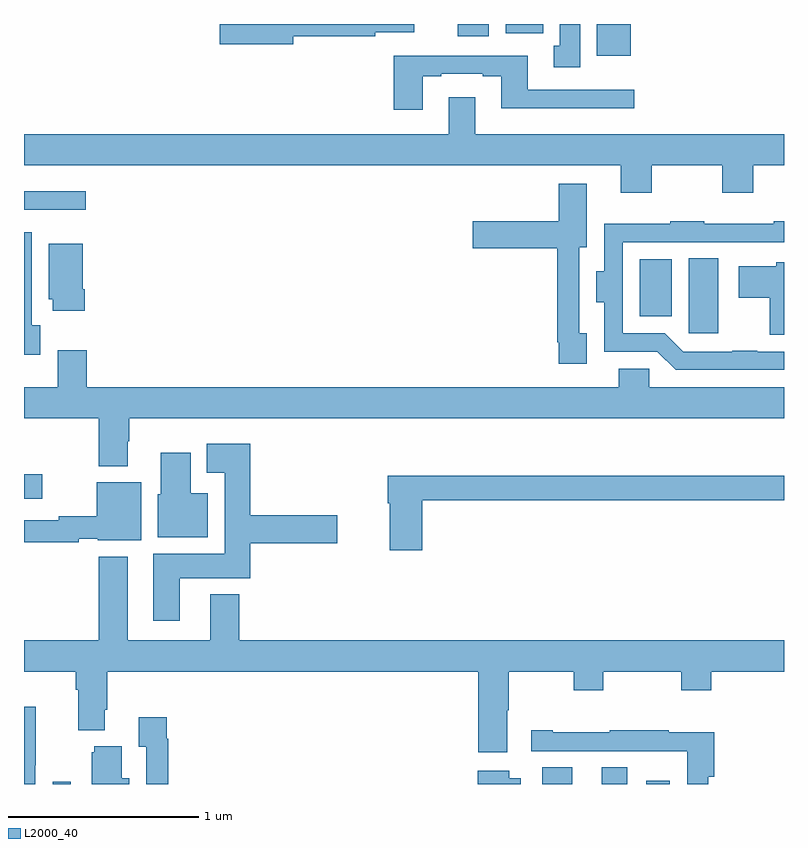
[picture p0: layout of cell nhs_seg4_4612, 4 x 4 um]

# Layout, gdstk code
import gdstk
lib = gdstk.Library(unit=1e-6, precision=1e-09)
def R(c, l, rs):  # rectangles x0, y0, x1, y1
    for r in rs: c.add(gdstk.rectangle(r[:2], r[2:], *l))
def P(c, l, *ps):  # polygons
    for p in ps: c.add(gdstk.Polygon(p, *l))
L2000_40 = (2000, 40)

nhs_seg4_4612 = lib.new_cell('nhs_seg4_4612')
R(nhs_seg4_4612, L2000_40, [(359.151,790.9,359.247,790.912), (361.727,790.9,361.885,790.988), (362.042,790.9,362.176,790.988), (362.276,790.9,362.398,790.918), (359,792.401,359.095,792.531), (362.498,793.272,362.653,793.667), (362.24,793.361,362.41,793.663), (359,793.923,359.326,794.02), (362.015,794.732,362.194,794.9), (361.283,794.835,361.447,794.9), (361.535,794.852,361.732,794.9)])
P(nhs_seg4_4612, L2000_40, [(360.418,794.836),(360.848,794.836),(360.848,794.856),(361.054,794.856),(361.054,794.9),(360.03,794.9),(360.03,794.794),(360.418,794.794)],
  [(361.927,794.9),(361.82,794.9),(361.82,794.786),(361.787,794.786),(361.787,794.673),(361.927,794.673)],
  [(361.099,794.625),(361.195,794.625),(361.195,794.637),(361.415,794.637),(361.415,794.625),(361.511,794.625),(361.511,794.456),(362.212,794.456),(362.212,794.553),(361.651,794.553),(361.651,794.733),(360.947,794.733),(360.947,794.448),(361.099,794.448)],
  [(362.305,794.156),(362.675,794.156),(362.675,794.013),(362.839,794.013),(362.839,794.156),(363,794.156),(363,794.32),(361.375,794.32),(361.375,794.515),(361.235,794.515),(361.235,794.32),(359,794.32),(359,794.156),(362.141,794.156),(362.141,794.013),(362.305,794.013)],
  [(361.963,793.273),(361.923,793.273),(361.923,793.724),(361.963,793.724),(361.963,794.059),(361.814,794.059),(361.814,793.863),(361.362,793.863),(361.362,793.721),(361.807,793.721),(361.807,793.225),(361.815,793.225),(361.815,793.113),(361.963,793.113)],
  [(363,793.176),(362.858,793.176),(362.858,793.181),(362.728,793.181),(362.728,793.176),(362.469,793.176),(362.373,793.272),(362.151,793.272),(362.151,793.752),(363,793.752),(363,793.861),(362.945,793.861),(362.945,793.849),(362.579,793.849),(362.579,793.861),(362.401,793.861),(362.401,793.849),(362.055,793.849),(362.055,793.6),(362.012,793.6),(362.012,793.436),(362.054,793.436),(362.054,793.176),(362.334,793.176),(362.43,793.08),(363,793.08)],
  [(359.086,793.314),(359.041,793.314),(359.041,793.804),(359,793.804),(359,793.16),(359.086,793.16)],
  [(359.321,793.504),(359.308,793.504),(359.308,793.744),(359.129,793.744),(359.129,793.452),(359.15,793.452),(359.15,793.392),(359.321,793.392)],
  [(363,793.645),(362.958,793.645),(362.958,793.624),(362.763,793.624),(362.763,793.46),(362.924,793.46),(362.924,793.265),(363,793.265)],
  [(359.177,793.183),(359.177,792.988),(359,792.988),(359,792.824),(359.393,792.824),(359.393,792.572),(359.545,792.572),(359.545,792.704),(359.553,792.704),(359.553,792.824),(363,792.824),(363,792.988),(362.292,792.988),(362.292,793.086),(362.129,793.086),(362.129,792.988),(359.33,792.988),(359.33,793.183)],
  [(359.821,791.984),(360.191,791.984),(360.191,792.167),(360.649,792.167),(360.649,792.314),(360.191,792.314),(360.191,792.691),(359.963,792.691),(359.963,792.539),(360.056,792.539),(360.056,792.112),(359.681,792.112),(359.681,791.76),(359.821,791.76)],
  [(359.968,792.43),(359.878,792.43),(359.878,792.643),(359.72,792.643),(359.72,792.426),(359.705,792.426),(359.705,792.2),(359.968,792.2)],
  [(361.097,792.394),(363,792.394),(363,792.523),(360.914,792.523),(360.914,792.377),(360.926,792.377),(360.926,792.129),(361.097,792.129)],
  [(359.288,792.192),(359.388,792.192),(359.388,792.182),(359.617,792.182),(359.617,792.487),(359.384,792.487),(359.384,792.308),(359.182,792.308),(359.182,792.288),(359,792.288),(359,792.172),(359.288,792.172)],
  [(361.543,791.288),(361.551,791.288),(361.551,791.492),(361.894,791.492),(361.894,791.393),(362.049,791.393),(362.049,791.492),(362.458,791.492),(362.458,791.393),(362.618,791.393),(362.618,791.492),(363,791.492),(363,791.656),(360.134,791.656),(360.134,791.899),(359.981,791.899),(359.981,791.656),(359.545,791.656),(359.545,792.097),(359.393,792.097),(359.393,791.656),(359,791.656),(359,791.492),(359.273,791.492),(359.273,791.396),(359.285,791.396),(359.285,791.183),(359.425,791.183),(359.425,791.29),(359.438,791.29),(359.438,791.492),(361.391,791.492),(361.391,791.067),(361.543,791.067)],
  [(359.058,790.999),(359.061,790.999),(359.061,791.306),(359,791.306),(359,790.9),(359.058,790.9)],
  [(359.759,791.138),(359.752,791.138),(359.752,791.251),(359.603,791.251),(359.603,791.095),(359.643,791.095),(359.643,790.9),(359.759,790.9)],
  [(362.602,790.937),(362.633,790.937),(362.633,791.172),(362.393,791.172),(362.393,791.182),(362.083,791.182),(362.083,791.172),(361.783,791.172),(361.783,791.182),(361.671,791.182),(361.671,791.073),(362.28,791.073),(362.28,791.072),(362.49,791.072),(362.49,790.9),(362.602,790.9)],
  [(359.554,790.93),(359.515,790.93),(359.515,791.098),(359.369,791.098),(359.369,791.067),(359.357,791.067),(359.357,790.9),(359.554,790.9)],
  [(361.615,790.93),(361.555,790.93),(361.555,790.969),(361.388,790.969),(361.388,790.9),(361.615,790.9)])

lib.write_gds('nhs_seg4_4612.gds')
